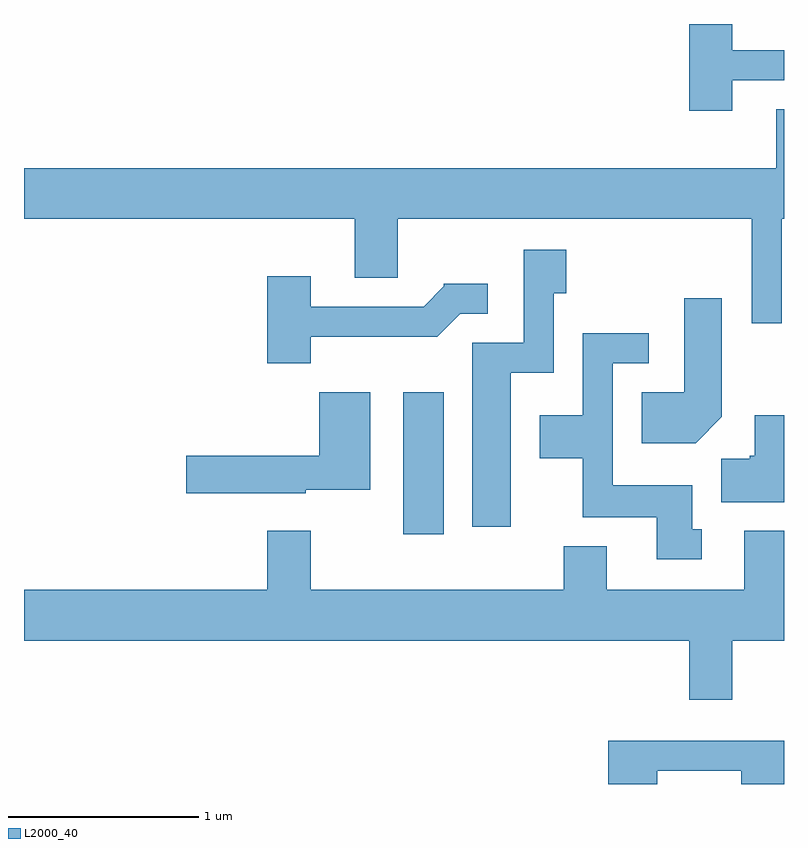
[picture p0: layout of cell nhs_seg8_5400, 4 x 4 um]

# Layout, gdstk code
import gdstk
lib = gdstk.Library(unit=1e-6, precision=1e-09)
def R(c, l, rs):  # rectangles x0, y0, x1, y1
    for r in rs: c.add(gdstk.rectangle(r[:2], r[2:], *l))
def P(c, l, *ps):  # polygons
    for p in ps: c.add(gdstk.Polygon(p, *l))
L2000_40 = (2000, 40)

nhs_seg8_5400 = lib.new_cell('nhs_seg8_5400')
R(nhs_seg8_5400, L2000_40, [(349.606,1823.656,349.819,1824.404)])
P(nhs_seg8_5400, L2000_40, [(351.339,1826.046),(351.611,1826.046),(351.611,1826.204),(351.339,1826.204),(351.339,1826.342),(351.111,1826.342),(351.111,1825.886),(351.339,1825.886)],
  [(351.599,1825.316),(351.611,1825.316),(351.611,1825.894),(351.571,1825.894),(351.571,1825.584),(347.611,1825.584),(347.611,1825.316),(349.351,1825.316),(349.351,1825.006),(349.579,1825.006),(349.579,1825.316),(351.441,1825.316),(351.441,1824.768),(351.599,1824.768)],
  [(350.174,1824.506),(350.399,1824.506),(350.399,1824.926),(350.464,1824.926),(350.464,1825.154),(350.241,1825.154),(350.241,1824.664),(349.971,1824.664),(349.971,1823.696),(350.174,1823.696)],
  [(349.119,1824.696),(349.787,1824.696),(349.907,1824.816),(350.053,1824.816),(350.053,1824.974),(349.82,1824.974),(349.82,1824.961),(349.714,1824.854),(349.119,1824.854),(349.119,1825.014),(348.891,1825.014),(348.891,1824.556),(349.119,1824.556)],
  [(351.284,1824.274),(351.284,1824.899),(351.086,1824.899),(351.086,1824.404),(350.861,1824.404),(350.861,1824.136),(351.147,1824.136)],
  [(351.178,1823.684),(351.129,1823.684),(351.129,1823.914),(350.709,1823.914),(350.709,1824.556),(350.898,1824.556),(350.898,1824.714),(350.551,1824.714),(350.551,1824.284),(350.326,1824.284),(350.326,1824.056),(350.551,1824.056),(350.551,1823.746),(350.941,1823.746),(350.941,1823.526),(351.178,1823.526)],
  [(349.094,1823.891),(349.434,1823.891),(349.434,1824.404),(349.166,1824.404),(349.166,1824.069),(348.466,1824.069),(348.466,1823.871),(349.094,1823.871)],
  [(351.611,1824.284),(351.456,1824.284),(351.456,1824.069),(351.43,1824.069),(351.43,1824.054),(351.281,1824.054),(351.281,1823.826),(351.611,1823.826)],
  [(351.339,1823.096),(351.611,1823.096),(351.611,1823.674),(351.401,1823.674),(351.401,1823.364),(350.679,1823.364),(350.679,1823.594),(350.451,1823.594),(350.451,1823.364),(349.119,1823.364),(349.119,1823.674),(348.891,1823.674),(348.891,1823.364),(347.611,1823.364),(347.611,1823.096),(351.111,1823.096),(351.111,1822.786),(351.339,1822.786)],
  [(350.944,1822.411),(351.386,1822.411),(351.386,1822.342),(351.611,1822.342),(351.611,1822.569),(350.686,1822.569),(350.686,1822.342),(350.944,1822.342)])

lib.write_gds('nhs_seg8_5400.gds')
